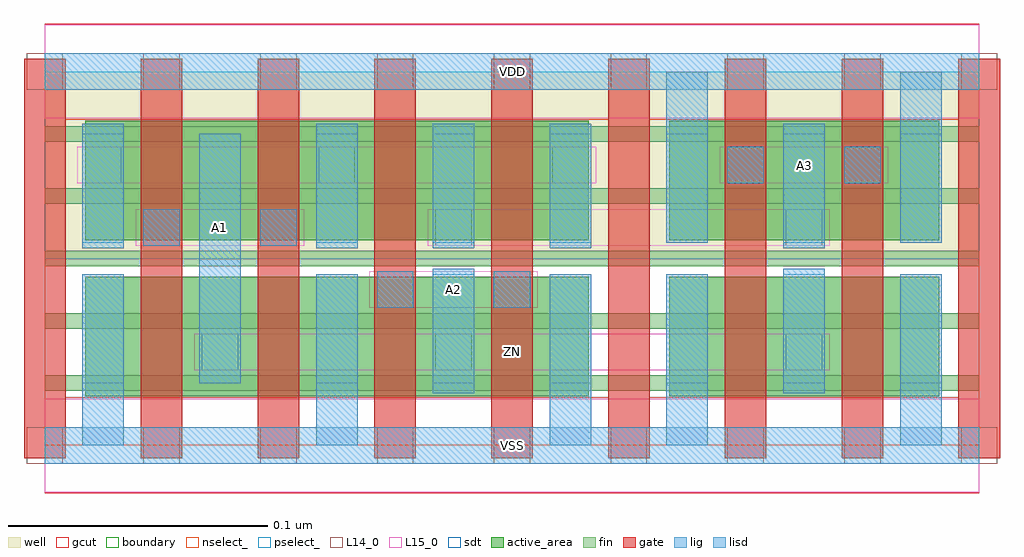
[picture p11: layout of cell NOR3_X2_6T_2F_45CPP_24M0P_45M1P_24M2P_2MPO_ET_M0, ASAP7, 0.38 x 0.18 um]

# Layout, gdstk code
import gdstk
lib = gdstk.Library(unit=1e-6, precision=2.5e-10)
def R(c, l, rs):  # rectangles x0, y0, x1, y1
    for r in rs: c.add(gdstk.rectangle(r[:2], r[2:], *l))
def A(c, l, x, y, w, h, nx, ny, dx, dy):  # array of equal rectangles
    R(c, l, [(x+i*dx, y+j*dy, x+i*dx+w, y+j*dy+h) for i in range(nx) for j in range(ny)])
well = (1, 0)
fin = (2, 0)
gate = (7, 0)
gcut = (10, 0)
active_area = (11, 0)
nselect_ = (12, 0)
pselect_ = (13, 0)
L14_0 = (14, 0)
L15_0 = (15, 0)
lig = (16, 0)
lisd = (17, 0)
sdt = (88, 0)
boundary = (100, 0)

nor3_x2_6t_2f_45cpp_24m0 = lib.new_cell('NOR3_X2_6T_2F_45CPP_24M0P_45M1P_24M2P_2MPO_ET_M0')
R(nor3_x2_6t_2f_45cpp_24m0, well, [(0,0.072,0.36,0.144)])
A(nor3_x2_6t_2f_45cpp_24m0, fin, 0, 0.021, 0.36, 0.006, 1, 5, 0, 0.024)
A(nor3_x2_6t_2f_45cpp_24m0, gate, -0.008, -0.005, 0.016, 0.154, 9, 1, 0.045, 0)
R(nor3_x2_6t_2f_45cpp_24m0, gcut, [(0,-0.0185,0.36,0.0185), (-0.008,-0.005,0.008,0.149), (0.217,-0.005,0.233,0.149), (0.352,-0.005,0.368,0.149), (0,0.1255,0.36,0.1625)])
A(nor3_x2_6t_2f_45cpp_24m0, active_area, 0.0155, 0.019, 0.059, 0.046, 4, 2, 0.045, 0.06)
R(nor3_x2_6t_2f_45cpp_24m0, active_area, [(0.2405,0.019,0.2995,0.065), (0.2855,0.019,0.3445,0.065), (0.2405,0.079,0.2995,0.125), (0.2855,0.079,0.3445,0.125)])
R(nor3_x2_6t_2f_45cpp_24m0, nselect_, [(0,0,0.36,0.072)])
R(nor3_x2_6t_2f_45cpp_24m0, pselect_, [(0,0.072,0.36,0.144)])
A(nor3_x2_6t_2f_45cpp_24m0, L14_0, -0.007, -0.007, 0.014, 0.014, 9, 2, 0.045, 0.144)
A(nor3_x2_6t_2f_45cpp_24m0, L14_0, 0.0155, 0.101, 0.014, 0.014, 3, 1, 0.09, 0)
R(nor3_x2_6t_2f_45cpp_24m0, L14_0, [(0.0605,0.029,0.0745,0.043), (0.1505,0.029,0.1645,0.043), (0.2855,0.029,0.2995,0.043), (0.128,0.053,0.142,0.067), (0.173,0.053,0.187,0.067), (0.038,0.077,0.052,0.091), (0.083,0.077,0.097,0.091), (0.1505,0.077,0.1645,0.091), (0.2855,0.077,0.2995,0.091), (0.263,0.101,0.277,0.115), (0.308,0.101,0.322,0.115)])
R(nor3_x2_6t_2f_45cpp_24m0, L15_0, [(0,-0.018,0.36,0.018), (0.0575,0.029,0.3025,0.043), (0.125,0.053,0.19,0.067), (0.035,0.077,0.1,0.091), (0.1475,0.077,0.3025,0.091), (0.0125,0.101,0.2125,0.115), (0.26,0.101,0.325,0.115), (0,0.126,0.36,0.162)])
R(nor3_x2_6t_2f_45cpp_24m0, lig, [(0,-0.007,0.36,0.007), (0.128,0.053,0.142,0.067), (0.173,0.053,0.187,0.067), (0.038,0.077,0.052,0.091), (0.083,0.077,0.097,0.091), (0.263,0.101,0.277,0.115), (0.308,0.101,0.322,0.115), (0,0.137,0.36,0.151)])
A(nor3_x2_6t_2f_45cpp_24m0, lisd, 0.0145, 0, 0.016, 0.066, 3, 1, 0.09, 0)
A(nor3_x2_6t_2f_45cpp_24m0, lisd, 0.1045, 0.076, 0.016, 0.048, 3, 1, 0.045, 0)
R(nor3_x2_6t_2f_45cpp_24m0, lisd, [(0.2395,0,0.2555,0.066), (0.3295,0,0.3455,0.066), (0.1495,0.02,0.1655,0.068), (0.2845,0.02,0.3005,0.068), (0.0595,0.024,0.0755,0.12), (0.0145,0.076,0.0305,0.124), (0.2845,0.076,0.3005,0.124), (0.2395,0.078,0.2555,0.144), (0.3295,0.078,0.3455,0.144)])
A(nor3_x2_6t_2f_45cpp_24m0, sdt, 0.1045, 0.024, 0.016, 0.042, 6, 2, 0.045, 0.054)
R(nor3_x2_6t_2f_45cpp_24m0, sdt, [(0.0145,0.024,0.0305,0.066), (0.0595,0.024,0.0755,0.12), (0.0145,0.078,0.0305,0.12)])
R(nor3_x2_6t_2f_45cpp_24m0, boundary, [(0,0,0.36,0.144)])
nor3_x2_6t_2f_45cpp_24m0.add(gdstk.Label('A3', (0.2925,0.108), layer=15, texttype=251))
nor3_x2_6t_2f_45cpp_24m0.add(gdstk.Label('A1', (0.0675,0.084), layer=15, texttype=251))
nor3_x2_6t_2f_45cpp_24m0.add(gdstk.Label('A2', (0.1575,0.06), layer=15, texttype=251))
nor3_x2_6t_2f_45cpp_24m0.add(gdstk.Label('ZN', (0.18,0.036), layer=15, texttype=251))
nor3_x2_6t_2f_45cpp_24m0.add(gdstk.Label('VDD', (0.18,0.144), layer=15, texttype=251))
nor3_x2_6t_2f_45cpp_24m0.add(gdstk.Label('VSS', (0.18,0), layer=15, texttype=251))
nor3_x2_6t_2f_45cpp_24m0.add(gdstk.Label('VDD', (0.18,0.144), layer=1, texttype=251))
nor3_x2_6t_2f_45cpp_24m0.add(gdstk.Label('VSS', (0.18,0), layer=3, texttype=251))

lib.write_gds('NOR3_X2_6T_2F_45CPP_24M0P_45M1P_24M2P_2MPO_ET_M0.gds')
